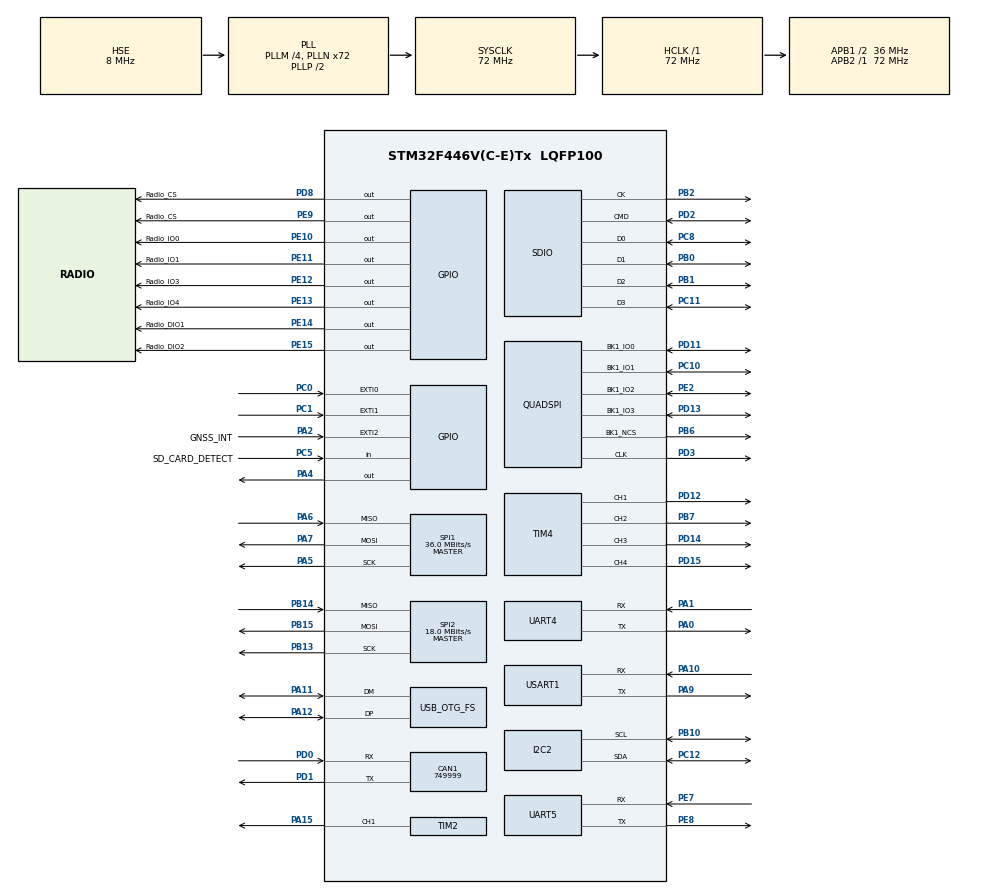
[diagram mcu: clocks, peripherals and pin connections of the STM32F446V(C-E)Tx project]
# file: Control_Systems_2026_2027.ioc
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CAN1.BS1=CAN_BS1_1TQ
CAN1.BS2=CAN_BS2_1TQ
CAN1.CalculateBaudRate=749999
CAN1.CalculateTimeBit=1333
CAN1.CalculateTimeQuantum=444.44444444444446
FATFS.BSP.number=1
FATFS0.BSP.STBoard=false
FATFS0.BSP.api=Unknown
FATFS0.BSP.instance=PC5
FATFS0.BSP.ip=GPIO
FATFS0.BSP.mode=Input
FATFS0.BSP.name=Detect_SDIO
FATFS0.BSP.solution=PC5
FREERTOS.Tasks01=defaultTask,24,128,StartDefaultTask,Default,NULL,Dynamic,NULL,NULL
FREERTOS.configENABLE_FPU=1
Mcu.Family=STM32F4
Mcu.Name=STM32F446V(C-E)Tx
Mcu.Package=LQFP100
NVIC.PriorityGroup=NVIC_PRIORITYGROUP_4
NVIC.SDIO_IRQn=true\:5\:0\:false\:false\:true\:true\:true\:true\:true
NVIC.TIM6_DAC_IRQn=true\:15\:0\:false\:false\:true\:false\:false\:true\:true
NVIC.TimeBase=TIM6_DAC_IRQn
NVIC.TimeBaseIP=TIM6
PA0-WKUP.Mode=Asynchronous
PA0-WKUP.Signal=UART4_TX
PA1.Mode=Asynchronous
PA1.Signal=UART4_RX
PA10.Mode=Asynchronous
PA10.Signal=USART1_RX
PA11.Mode=Host_Only
PA11.Signal=USB_OTG_FS_DM
PA12.Mode=Host_Only
PA12.Signal=USB_OTG_FS_DP
PA13.Mode=Trace_Asynchronous_SW
PA13.Signal=SYS_JTMS-SWDIO
PA14.Mode=Trace_Asynchronous_SW
PA14.Signal=SYS_JTCK-SWCLK
PA15.Signal=S_TIM2_CH1_ETR
PA2.GPIO_Label=GNSS_INT
PA2.Signal=GPXTI2
PA4.Signal=GPIO_Output
PA5.Mode=Full_Duplex_Master
PA5.Signal=SPI1_SCK
PA6.Mode=Full_Duplex_Master
PA6.Signal=SPI1_MISO
PA7.Mode=Full_Duplex_Master
PA7.Signal=SPI1_MOSI
PA9.Mode=Asynchronous
PA9.Signal=USART1_TX
PB0.Mode=SD_4_bits_Wide_bus
PB0.Signal=SDIO_D1
PB1.Mode=SD_4_bits_Wide_bus
PB1.Signal=SDIO_D2
PB10.Mode=I2C
PB10.Signal=I2C2_SCL
PB13.Mode=Full_Duplex_Master
PB13.Signal=SPI2_SCK
PB14.Mode=Full_Duplex_Master
PB14.Signal=SPI2_MISO
PB15.Mode=Full_Duplex_Master
PB15.Signal=SPI2_MOSI
PB2.Mode=SD_4_bits_Wide_bus
PB2.Signal=SDIO_CK
PB3.Mode=Trace_Asynchronous_SW
PB3.Signal=SYS_JTDO-SWO
PB6.Mode=Single Bank 1
PB6.Signal=QUADSPI_BK1_NCS
PB7.Signal=S_TIM4_CH2
PC0.Signal=GPXTI0
PC1.Signal=GPXTI1
PC10.Mode=Single Bank 1
PC10.Signal=QUADSPI_BK1_IO1
PC11.Mode=SD_4_bits_Wide_bus
PC11.Signal=SDIO_D3
PC12.Mode=I2C
PC12.Signal=I2C2_SDA
PC5.GPIO_Label=SD_CARD_DETECT
PC5.Signal=GPIO_Input
PC8.Mode=SD_4_bits_Wide_bus
PC8.Signal=SDIO_D0
PD0.Mode=CAN_Activate
PD0.Signal=CAN1_RX
PD1.Mode=CAN_Activate
PD1.Signal=CAN1_TX
PD11.Mode=Single Bank 1
PD11.Signal=QUADSPI_BK1_IO0
PD12.Signal=S_TIM4_CH1
PD13.Mode=Single Bank 1
PD13.Signal=QUADSPI_BK1_IO3
PD14.Signal=S_TIM4_CH3
PD15.Signal=S_TIM4_CH4
PD2.Mode=SD_4_bits_Wide_bus
PD2.Signal=SDIO_CMD
PD3.Mode=Single Bank 1
PD3.Signal=QUADSPI_CLK
PD8.GPIO_Label=Radio_CS
PD8.Signal=GPIO_Output
PE10.GPIO_Label=Radio_IO0
PE10.Signal=GPIO_Output
PE11.GPIO_Label=Radio_IO1
PE11.Signal=GPIO_Output
PE12.GPIO_Label=Radio_IO3
PE12.Signal=GPIO_Output
PE13.GPIO_Label=Radio_IO4
PE13.Signal=GPIO_Output
PE14.GPIO_Label=Radio_DIO1
PE14.Signal=GPIO_Output
PE15.GPIO_Label=Radio_DIO2
PE15.Signal=GPIO_Output
PE2.Mode=Single Bank 1
PE2.Signal=QUADSPI_BK1_IO2
PE7.Mode=Asynchronous
PE7.Signal=UART5_RX
PE8.Mode=Asynchronous
PE8.Signal=UART5_TX
PE9.GPIO_Label=Radio_CS
PE9.Signal=GPIO_Output
PH0-OSC_IN.Mode=HSE-External-Clock-Source
PH0-OSC_IN.Signal=RCC_OSC_IN
PH1-OSC_OUT.Mode=HSE-External-Clock-Source
PH1-OSC_OUT.Signal=RCC_OSC_OUT
ProjectManager.HeapSize=0x200
ProjectManager.StackSize=0x400
ProjectManager.TargetToolchain=CMake
RCC.AHBFreq_Value=72000000
RCC.APB1CLKDivider=RCC_HCLK_DIV2
RCC.APB1Freq_Value=36000000
RCC.APB1TimFreq_Value=72000000
RCC.APB2Freq_Value=72000000
RCC.APB2TimFreq_Value=72000000
RCC.CortexFreq_Value=72000000
RCC.HCLKFreq_Value=72000000
RCC.HSE_VALUE=8000000
RCC.PLLM=4
RCC.PLLN=72
RCC.PLLQ=3
RCC.SYSCLKFreq_VALUE=72000000
RCC.SYSCLKSource=RCC_SYSCLKSOURCE_PLLCLK
RCC.USBFreq_Value=48000000
RCC.VCOOutputFreq_Value=144000000
SH.S_TIM2_CH1_ETR.0=TIM2_CH1,PWM Generation1 CH1
SH.S_TIM4_CH1.0=TIM4_CH1,PWM Generation1 CH1
SH.S_TIM4_CH2.0=TIM4_CH2,PWM Generation2 CH2
SH.S_TIM4_CH3.0=TIM4_CH3,PWM Generation3 CH3
SH.S_TIM4_CH4.0=TIM4_CH4,PWM Generation4 CH4
SPI1.CalculateBaudRate=36.0 MBits/s
SPI1.Direction=SPI_DIRECTION_2LINES
SPI1.Mode=SPI_MODE_MASTER
SPI1.VirtualType=VM_MASTER
SPI2.BaudRatePrescaler=SPI_BAUDRATEPRESCALER_2
SPI2.CalculateBaudRate=18.0 MBits/s
SPI2.Direction=SPI_DIRECTION_2LINES
SPI2.Mode=SPI_MODE_MASTER
SPI2.VirtualType=VM_MASTER
TIM2.Channel-PWM\ Generation1\ CH1=TIM_CHANNEL_1
TIM4.Channel-PWM\ Generation1\ CH1=TIM_CHANNEL_1
TIM4.Channel-PWM\ Generation2\ CH2=TIM_CHANNEL_2
TIM4.Channel-PWM\ Generation3\ CH3=TIM_CHANNEL_3
TIM4.Channel-PWM\ Generation4\ CH4=TIM_CHANNEL_4
UART4.VirtualMode=Asynchronous
UART5.VirtualMode=Asynchronous
USART1.VirtualMode=VM_ASYNC
USB_OTG_FS.VirtualMode=Host_Only
USB_OTG_FS.phy_itface=HCD_PHY_EMBEDDED
VP_FATFS_VS_SDIO.Mode=SDIO
VP_FREERTOS_VS_CMSIS_V2.Mode=CMSIS_V2
VP_SYS_VS_tim6.Mode=TIM6
board=custom

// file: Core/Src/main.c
/* USER CODE BEGIN Header */
/**
  ******************************************************************************
  * @file           : main.c
  * @brief          : Main program body
  ******************************************************************************
  * @attention
  *
  * Copyright (c) 2026 STMicroelectronics.
  * All rights reserved.
  *
  * This software is licensed under terms that can be found in the LICENSE file
  * in the root directory of this software component.
  * If no LICENSE file comes with this software, it is provided AS-IS.
  *
  ******************************************************************************
  */
/* USER CODE END Header */

#include "main.h"
#include "cmsis_os.h"
#include "projdefs.h"

#include "can.h"
#include "fatfs.h"
#include "i2c.h"
#include "iwdg.h"
#include "quadspi.h"
#include "sdio.h"
#include "spi.h"
#include "tim.h"
#include "usart.h"
#include "usb_otg.h"
#include "gpio.h"

void SystemClock_Config(void);
void MX_FREERTOS_Init(void);

int main(void)
{

  /* MCU Configuration--------------------------------------------------------*/

  /* Reset of all peripherals, Initializes the Flash interface and the Systick. */
  HAL_Init();

  /* Configure the system clock */
  SystemClock_Config();

  /* USER CODE BEGIN SysInit */
  if (__HAL_RCC_GET_FLAG(RCC_FLAG_IWDGRST))
  {
    /* Clear processor reset flags on IWDG reset. */
    __HAL_RCC_CLEAR_RESET_FLAGS();
  }
  /* USER CODE END SysInit */

  /* Initialize all configured peripherals */
  MX_GPIO_Init();
  MX_CAN1_Init();
  MX_I2C2_Init();
  MX_QUADSPI_Init();
  MX_SDIO_SD_Init();
  MX_SPI1_Init();
  MX_SPI2_Init();
  MX_TIM2_Init();
  MX_TIM4_Init();
  MX_UART4_Init();
  MX_UART5_Init();
  MX_USART1_UART_Init();
  MX_USB_OTG_FS_HCD_Init();
  MX_FATFS_Init();
  MX_IWDG_Init();

  /* Init scheduler */
  osKernelInitialize();  /* Call init function for freertos objects (in cmsis_os2.c) */
  MX_FREERTOS_Init();    /* Initialize real-time tasks and synchronization primitives */

  /* Start scheduler */
  osKernelStart();

  /* We should never get here as control is now taken by the scheduler */

  /* Infinite loop */
  while (1)
  {

  }
}

void SystemClock_Config(void)
{
  RCC_OscInitTypeDef RCC_OscInitStruct = {0};
  RCC_ClkInitTypeDef RCC_ClkInitStruct = {0};

  /** Configure the main internal regulator output voltage
  */
  __HAL_RCC_PWR_CLK_ENABLE();
  __HAL_PWR_VOLTAGESCALING_CONFIG(PWR_REGULATOR_VOLTAGE_SCALE3);

  /** Initializes the RCC Oscillators according to the specified parameters
  * in the RCC_OscInitTypeDef structure.
  */
  RCC_OscInitStruct.OscillatorType = RCC_OSCILLATORTYPE_HSE;
  RCC_OscInitStruct.HSEState = RCC_HSE_BYPASS;
  RCC_OscInitStruct.PLL.PLLState = RCC_PLL_ON;
  RCC_OscInitStruct.PLL.PLLSource = RCC_PLLSOURCE_HSE;
  RCC_OscInitStruct.PLL.PLLM = 4;
  RCC_OscInitStruct.PLL.PLLN = 72;
  RCC_OscInitStruct.PLL.PLLP = RCC_PLLP_DIV2;
  RCC_OscInitStruct.PLL.PLLQ = 3;
  RCC_OscInitStruct.PLL.PLLR = 2;
  if (HAL_RCC_OscConfig(&RCC_OscInitStruct) != HAL_OK)
  {
    Error_Handler();
  }

  /** Initializes the CPU, AHB and APB buses clocks
  */
  RCC_ClkInitStruct.ClockType = RCC_CLOCKTYPE_HCLK|RCC_CLOCKTYPE_SYSCLK
                              |RCC_CLOCKTYPE_PCLK1|RCC_CLOCKTYPE_PCLK2;
  RCC_ClkInitStruct.SYSCLKSource = RCC_SYSCLKSOURCE_PLLCLK;
  RCC_ClkInitStruct.AHBCLKDivider = RCC_SYSCLK_DIV1;
  RCC_ClkInitStruct.APB1CLKDivider = RCC_HCLK_DIV2;
  RCC_ClkInitStruct.APB2CLKDivider = RCC_HCLK_DIV1;

  if (HAL_RCC_ClockConfig(&RCC_ClkInitStruct, FLASH_LATENCY_2) != HAL_OK)
  {
    Error_Handler();
  }
}

void HAL_TIM_PeriodElapsedCallback(TIM_HandleTypeDef *htim)
{
  if (htim->Instance == TIM6)
  {
    HAL_IncTick();
  }
}

void Error_Handler(void)
{
  __disable_irq();
  while (1)
  {
  }
}

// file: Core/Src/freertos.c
/* USER CODE BEGIN Header */
/**
  ******************************************************************************
  * File Name          : freertos.c
  * Description        : Code for freertos applications
  ******************************************************************************
  * @attention
  *
  * Copyright (c) 2026 STMicroelectronics.
  * All rights reserved.
  *
  * This software is licensed under terms that can be found in the LICENSE file
  * in the root directory of this software component.
  * If no LICENSE file comes with this software, it is provided AS-IS.
  *
  ******************************************************************************
  */
/* USER CODE END Header */

#include "FreeRTOS.h"
#include "task.h"
#include "main.h"
#include "cmsis_os.h"

#include "iwdg.h"

/* USER CODE BEGIN PD */
#define ALL_TASKS_COMPLETE_FLAGS 0x00000000U  /* Placeholder for tasks to be added later */
#define ALL_TASKS_CONTINUE_FLAGS ALL_TASKS_COMPLETE_FLAGS
/* USER CODE END PD */

/* USER CODE BEGIN Variables */
osThreadId_t idleTaskHandle;
const osThreadAttr_t idleTaskAttributes = {
  .name = "idleTask", .stack_size = 128 * 4, .priority = osPriorityIdle};

osThreadId_t watchdogTaskHandle;
const osThreadAttr_t watchdogTaskAttributes = {
  .name = "watchdogTask", .stack_size = 128 * 4, .priority = osPriorityHigh};

osEventFlagsId_t tasksCompleteEventFlagsHandle;
const osEventFlagsAttr_t tasksCompleteEventFlagsAttributes = {.name = "tasksComplete"};

osEventFlagsId_t tasksContinueEventFlagsHandle;
const osEventFlagsAttr_t tasksContinueEventFlagsAttributes = {.name = "tasksContinue"};
/* USER CODE END Variables */

/* USER CODE BEGIN FunctionPrototypes */
void MX_FREERTOS_Init(void); /* (MISRA C 2004 rule 8.1) */
void IdleTaskFunction(void *argument);
void WatchdogTaskFunction(void *argument);
/* USER CODE END FunctionPrototypes */

void MX_FREERTOS_Init(void) {

  /* USER CODE BEGIN RTOS_THREADS */
  idleTaskHandle = osThreadNew(IdleTaskFunction, NULL, &idleTaskAttributes);
  watchdogTaskHandle = osThreadNew(WatchdogTaskFunction, NULL, &watchdogTaskAttributes);
  /* USER CODE END RTOS_THREADS */

  /* USER CODE BEGIN RTOS_EVENTS */
  tasksCompleteEventFlagsHandle = osEventFlagsNew(&tasksCompleteEventFlagsAttributes);
  tasksContinueEventFlagsHandle = osEventFlagsNew(&tasksContinueEventFlagsAttributes);
  /* USER CODE END RTOS_EVENTS */

  /* Reset IWDG on RTOS kernel start. */
  osEventFlagsSet(tasksCompleteEventFlagsHandle, ALL_TASKS_COMPLETE_FLAGS);
}

/* USER CODE BEGIN Application */
/**
  * @brief  Function implementing the watchdogTask thread.
  * @param  argument: Not used
  * @retval None
  */
void WatchdogTaskFunction(void *argument)
{
  for(;;)
  {
    uint32_t flags = osEventFlagsWait(tasksCompleteEventFlagsHandle, ALL_TASKS_COMPLETE_FLAGS, osFlagsWaitAll, osWaitForever);
    if (flags == osFlagsErrorUnknown || flags == osFlagsErrorTimeout || flags == osFlagsErrorResource || flags == osFlagsErrorParameter)
    {
      /* IWDG should eventually expire if osEventFlagsWait() continues to fail. */
      continue;
    }

    HAL_IWDG_Refresh(&hiwdg);
    osEventFlagsSet(tasksContinueEventFlagsHandle, ALL_TASKS_CONTINUE_FLAGS);
  }
}

/**
  * @brief  Function implementing the idleTask thread.
  * @param  argument: Not used
  * @retval None
  */
void IdleTaskFunction(void *argument)
{
  for(;;)
  {
    osDelay(1);
  }
}
/* USER CODE END Application */
